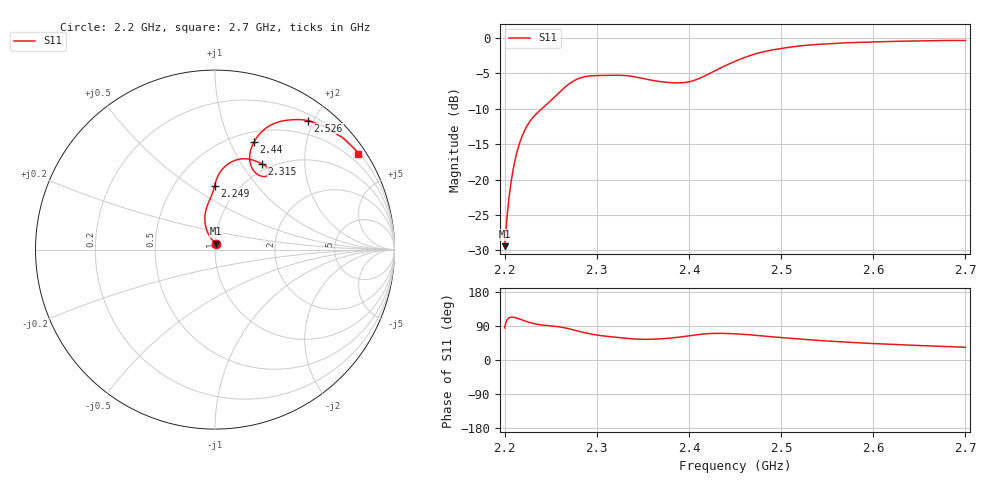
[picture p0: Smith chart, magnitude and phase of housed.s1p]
! PRELIMINARY bare PCB unless shell_eps > 0; see README.md
! L220 output ($1N324), with L220 and C216 excluded and C217 DNP
# Hz S RI R 50
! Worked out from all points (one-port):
!   501 points, 2.2 GHz to 2.7 GHz, reference 50 ohm
!   lowest |S11| = -29.4 dB at 2.2 GHz (marker M1), VSWR 1.07, Z = 50.2 + j3.4 ohm
!   |S11| at or under -10 dB: start of sweep to 2.24 GHz
!   S11 on the Smith chart (normalised r, x): 2.2 GHz: 1.00, +0.07; 2.249 GHz: 0.77, +0.63; 2.315 GHz: 0.91, +1.23; 2.44 GHz: 0.61, +1.24; 2.526 GHz: 0.29, +1.92; 2.7 GHz: 0.25, +3.29
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2.2e9  0.00325 0.0338
2.202e9  -0.0105 0.0476
2.205e9  -0.0281 0.0711
2.208e9  -0.0415 0.0971
2.212e9  -0.0527 0.1335
2.216e9  -0.0565 0.1696
2.221e9  -0.0527 0.2108
2.228e9  -0.0383 0.2576
2.249e9  -0.00271 0.3553
2.263e9  0.0301 0.4334
2.274e9  0.086 0.4852
2.283e9  0.1412 0.5046
2.297e9  0.2107 0.4989
2.315e9  0.2606 0.4784
2.325e9  0.2817 0.4667
2.35e9  0.2998 0.4216
2.368e9  0.2778 0.4069
2.388e9  0.2415 0.4163
2.402e9  0.2112 0.4458
2.416e9  0.1936 0.4985
2.44e9  0.2183 0.6011
2.45e9  0.2438 0.6385
2.477e9  0.3436 0.7079
2.513e9  0.4755 0.7241
2.526e9  0.518 0.7183
2.575e9  0.6366 0.6723
2.638e9  0.7344 0.6019
2.7e9  0.7989 0.531
